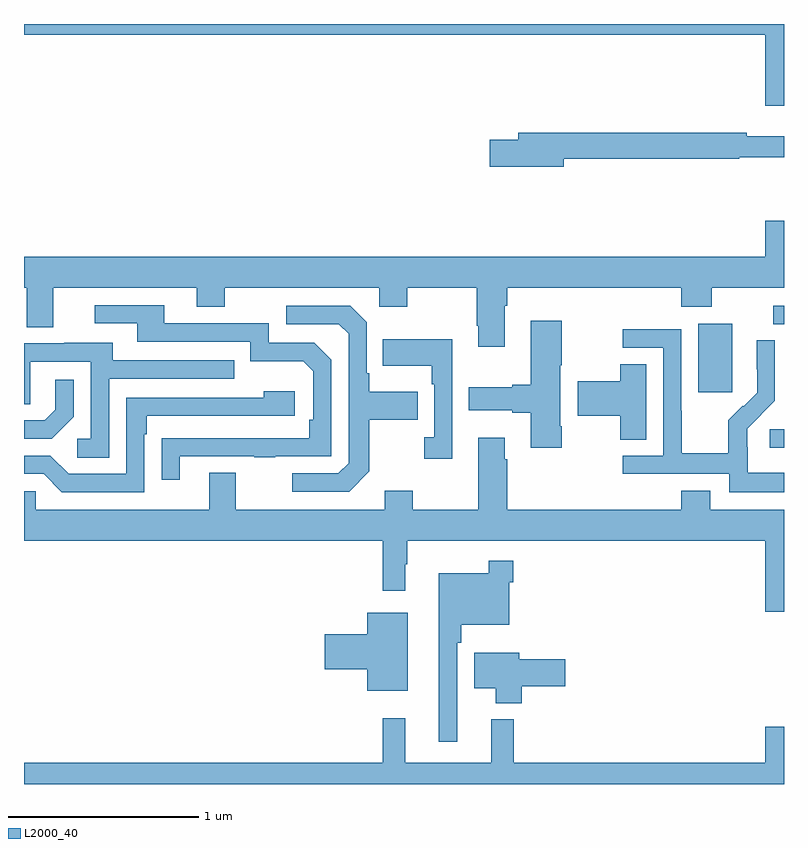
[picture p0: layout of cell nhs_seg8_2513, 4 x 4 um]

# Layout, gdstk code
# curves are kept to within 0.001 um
import gdstk
lib = gdstk.Library(unit=1e-6, precision=1e-09)
def R(c, l, rs):  # rectangles x0, y0, x1, y1
    for r in rs: c.add(gdstk.rectangle(r[:2], r[2:], *l))
def P(c, l, *ps):  # polygons
    for p in ps: c.add(gdstk.Polygon(p, *l))
L2000_40 = (2000, 40)

nhs_seg8_2513 = lib.new_cell('nhs_seg8_2513')
R(nhs_seg8_2513, L2000_40, [(272.925,1103.669,273,1103.766), (272.549,1103.961,272.728,1104.322), (272.943,1104.321,273,1104.417)])
P(nhs_seg8_2513, L2000_40, [(273,1105.9),(269,1105.9),(269,1105.844),(272.9,1105.844),(272.9,1105.47),(273,1105.47)],
  [(271.84,1105.192),(272.765,1105.192),(272.765,1105.2),(273,1105.2),(273,1105.309),(272.804,1105.309),(272.804,1105.328),(271.601,1105.328),(271.601,1105.292),(271.452,1105.292),(271.452,1105.15),(271.84,1105.15)],
  [(271.531,1104.416),(271.544,1104.416),(271.544,1104.512),(272.459,1104.512),(272.459,1104.413),(272.619,1104.413),(272.619,1104.512),(273,1104.512),(273,1104.865),(272.9,1104.865),(272.9,1104.676),(269,1104.676),(269,1104.512),(269.015,1104.512),(269.015,1104.304),(269.155,1104.304),(269.155,1104.512),(269.909,1104.512),(269.909,1104.413),(270.057,1104.413),(270.057,1104.512),(270.87,1104.512),(270.87,1104.413),(271.017,1104.413),(271.017,1104.512),(271.384,1104.512),(271.384,1104.313),(271.391,1104.313),(271.391,1104.201),(271.531,1104.201)],
  [(269.821,1103.625),(270.211,1103.625),(270.211,1103.62),(270.323,1103.62),(270.323,1103.625),(270.618,1103.625),(270.618,1104.132),(270.528,1104.222),(270.288,1104.222),(270.288,1104.324),(269.737,1104.324),(269.737,1104.42),(269.373,1104.42),(269.373,1104.324),(269.597,1104.324),(269.597,1104.228),(270.192,1104.228),(270.192,1104.125),(270.469,1104.125),(270.522,1104.072),(270.522,1103.818),(270.502,1103.818),(270.502,1103.721),(269.725,1103.72),(269.725,1103.502),(269.821,1103.502)],
  [(270.817,1103.545),(270.817,1103.818),(271.073,1103.818),(271.073,1103.965),(270.817,1103.965),(270.817,1104.061),(270.804,1104.061),(270.804,1104.33),(270.717,1104.417),(270.381,1104.417),(270.381,1104.321),(270.657,1104.321),(270.708,1104.27),(270.708,1103.589),(270.654,1103.535),(270.411,1103.535),(270.411,1103.439),(270.711,1103.439)],
  [(271.83,1103.782),(271.822,1103.782),(271.822,1104.103),(271.83,1104.103),(271.83,1104.337),(271.667,1104.337),(271.667,1104.002),(271.571,1104.002),(271.571,1103.989),(271.341,1103.989),(271.341,1103.867),(271.571,1103.867),(271.571,1103.855),(271.667,1103.855),(271.667,1103.67),(271.83,1103.67)],
  [(273,1103.539),(272.808,1103.539),(272.808,1103.673),(272.806,1103.673),(272.806,1103.77),(272.952,1103.918),(272.952,1104.236),(272.856,1104.236),(272.856,1104.082),(272.858,1104.082),(272.858,1103.96),(272.787,1103.889),(272.784,1103.892),(272.707,1103.815),(272.707,1103.641),(272.463,1103.641),(272.463,1103.864),(272.46,1103.864),(272.46,1104.294),(272.151,1104.294),(272.151,1104.195),(272.364,1104.195),(272.364,1103.628),(272.151,1103.628),(272.151,1103.532),(272.712,1103.532),(272.712,1103.435),(273,1103.435)],
  [(271.254,1104.241),(270.889,1104.241),(270.889,1104.101),(271.146,1104.101),(271.146,1104.005),(271.158,1104.005),(271.158,1103.726),(271.107,1103.726),(271.107,1103.613),(271.254,1103.613)],
  [(269.448,1104.033),(270.107,1104.033),(270.107,1104.129),(269.467,1104.129),(269.467,1104.223),(269.213,1104.223),(269.213,1104.219),(269,1104.219),(269,1103.899),(269.034,1103.899),(269.034,1104.123),(269.352,1104.123),(269.352,1103.718),(269.28,1103.718),(269.28,1103.617),(269.448,1103.617)],
  [(272.275,1104.11),(272.137,1104.11),(272.137,1104.02),(271.914,1104.02),(271.914,1103.837),(272.137,1103.837),(272.137,1103.713),(272.275,1103.713)],
  [(269.262,1103.834),(269.262,1104.028),(269.165,1104.028),(269.165,1103.871),(269.108,1103.814),(269,1103.814),(269,1103.718),(269.146,1103.718)],
  [(269.634,1103.741),(269.647,1103.741),(269.647,1103.838),(270.424,1103.838),(270.424,1103.968),(270.263,1103.968),(270.263,1103.934),(269.538,1103.934),(269.538,1103.532),(269.235,1103.532),(269.139,1103.628),(269,1103.628),(269,1103.532),(269.103,1103.532),(269.199,1103.436),(269.634,1103.436)],
  [(273,1103.344),(272.611,1103.344),(272.611,1103.443),(272.459,1103.443),(272.459,1103.344),(271.544,1103.344),(271.544,1103.609),(271.531,1103.609),(271.531,1103.722),(271.391,1103.722),(271.391,1103.344),(271.047,1103.344),(271.047,1103.443),(270.899,1103.443),(270.899,1103.344),(270.115,1103.344),(270.115,1103.539),(269.975,1103.539),(269.975,1103.344),(269.061,1103.344),(269.061,1103.442),(269,1103.442),(269,1103.18),(270.889,1103.18),(270.889,1102.917),(271.006,1102.917),(271.006,1103.057),(271.018,1103.057),(271.018,1103.18),(272.9,1103.18),(272.9,1102.806),(273,1102.806)],
  [(271.281,1102.643),(271.301,1102.643),(271.301,1102.739),(271.554,1102.739),(271.554,1102.961),(271.574,1102.961),(271.574,1103.074),(271.446,1103.074),(271.446,1103.008),(271.184,1103.008),(271.184,1102.122),(271.281,1102.122)],
  [(271.021,1102.801),(270.806,1102.801),(270.806,1102.688),(270.582,1102.688),(270.582,1102.505),(270.806,1102.505),(270.806,1102.391),(271.021,1102.391)],
  [(271.619,1102.414),(271.849,1102.414),(271.849,1102.556),(271.606,1102.556),(271.606,1102.591),(271.37,1102.591),(271.37,1102.403),(271.484,1102.403),(271.484,1102.325),(271.619,1102.325)],
  [(273,1102.201),(272.9,1102.201),(272.9,1102.012),(271.577,1102.012),(271.577,1102.24),(271.46,1102.24),(271.46,1102.012),(271.007,1102.012),(271.007,1102.246),(270.889,1102.246),(270.889,1102.012),(269,1102.012),(269,1101.9),(273,1101.9)])

lib.write_gds('nhs_seg8_2513.gds')
